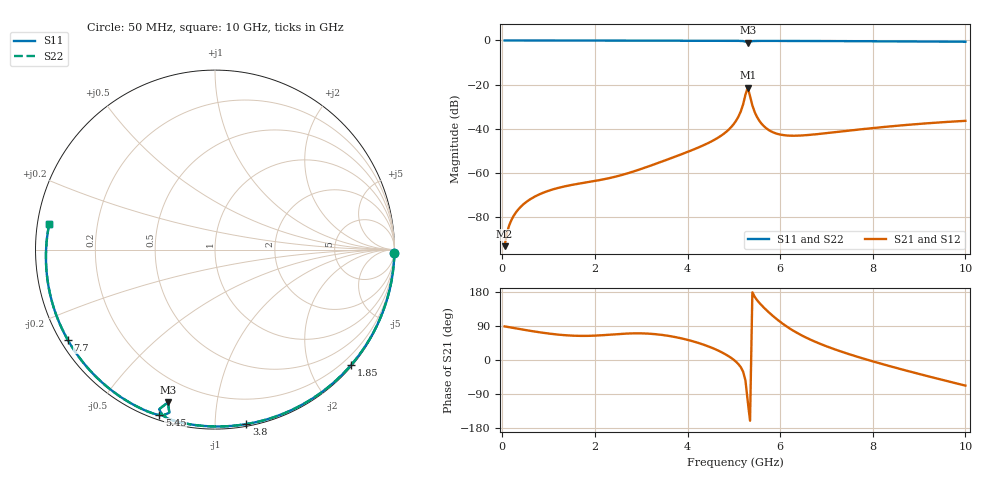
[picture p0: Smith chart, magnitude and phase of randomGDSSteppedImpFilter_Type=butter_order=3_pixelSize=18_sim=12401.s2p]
! freq	dB(S11)	phase(S11)	dB(S12)	phase(S12)
!  dB(S21)	phase(S21)	dB(S22)	phase(S22)
!S-par simulation data
#  GHz  S  DB  R 50
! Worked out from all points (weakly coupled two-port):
!   200 points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, 50 MHz to 10 GHz, reference 50 ohm
!   highest |S21| = -21.37 dB at 5.3 GHz (marker M1); lowest = -93.4 dB at 50 MHz (marker M2)
!   lowest |S11| = -1.0 dB at 5.3 GHz (marker M3), VSWR 17.30, Z = 4.46 - j36.7 ohm
!   |S11| at or under -10 dB: nowhere
!   |S22| runs from -1.0 to 0.0 dB; largest |S21 - S12| = 0
!   S11 on the Smith chart (normalised r, x): 50 MHz: open; 1.85 GHz: 0.02, -2.72; 3.8 GHz: 0.02, -1.20; 5.45 GHz: 0.02, -0.72; 7.7 GHz: 0.02, -0.28; 10 GHz: 0.03, +0.08
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0.05  -0.00 -1.1  -93.39 88.7  -93.39 88.7  -0.00 -1.1
0.25  -0.01 -5.6  -79.47 84.4  -79.47 84.4  -0.01 -5.6
0.5  -0.01 -11.1  -73.62 79.1  -73.62 79.1  -0.01 -11.1
0.85  -0.02 -18.8  -69.41 72.3  -69.41 72.3  -0.02 -18.8
1.75  -0.05 -38.3  -64.67 63.6  -64.67 63.6  -0.05 -38.3
1.85  -0.05 -40.4  -64.31 63.7  -64.31 63.7  -0.05 -40.4
2.55  -0.07 -55.0  -61.26 68.8  -61.26 68.8  -0.07 -55.0
3.4  -0.09 -72.0  -55.34 66.9  -55.34 66.9  -0.09 -72.1
3.8  -0.11 -79.8  -52.22 58.9  -52.22 58.9  -0.11 -79.8
4.65  -0.14 -95.9  -44.26 25.6  -44.26 25.6  -0.14 -96.0
4.9  -0.16 -100.7  -40.26 9.0  -40.26 9.0  -0.16 -100.7
5.05  -0.17 -103.8  -36.38 -4.9  -36.38 -4.9  -0.17 -103.8
5.15  -0.21 -106.1  -32.20 -18.9  -32.20 -18.9  -0.21 -106.1
5.3  -1.01 -107.1  -21.37 -109.2  -21.37 -109.2  -1.00 -107.2
5.45  -0.24 -108.6  -32.51 166.9  -32.51 166.9  -0.24 -108.6
5.6  -0.21 -111.9  -37.83 144.2  -37.83 144.2  -0.21 -111.9
5.85  -0.21 -116.6  -41.73 115.5  -41.73 115.5  -0.21 -116.6
6.2  -0.22 -122.8  -43.22 83.7  -43.22 83.7  -0.22 -122.8
6.7  -0.26 -131.4  -42.74 51.2  -42.74 51.2  -0.26 -131.5
7.7  -0.33 -148.5  -40.44 7.3  -40.44 7.3  -0.33 -148.5
8.35  -0.40 -159.5  -39.06 -15.6  -39.06 -15.6  -0.40 -159.5
10  -0.59 171.2  -36.49 -67.6  -36.49 -67.6  -0.59 171.2
